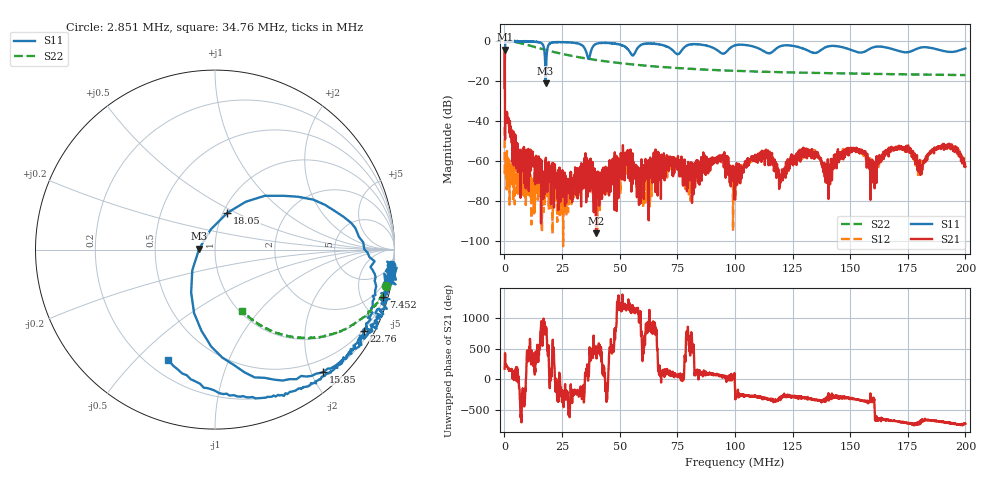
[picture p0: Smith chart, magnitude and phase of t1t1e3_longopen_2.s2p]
! 27-Aug-26 2:32:34 PM
! E:\20260827_VNA\T1T1E3_LONGOPEN_2.S2P
! CHANNEL.1
! TR.MEASUREMENT
! CORRECTED.DATA
# GHZ S RI R 50.0
! FREQ.GHZ  S11RE  S11IM  S21RE  S21IM  S12RE  S12IM  S22RE  S22IM
!; PortSelection: Port_12
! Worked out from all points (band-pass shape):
!   2000 points, 50 kHz to 200 MHz, reference 50 ohm
!   highest |S21| = -4.24 dB at 150 kHz (marker M1); lowest = -96.0 dB at 39.76 MHz (marker M2)
!   |S21| within 3 dB of the highest: 134.3 kHz to 156.7 kHz (22.36 kHz wide, 15.4 % of centre)
!   lowest |S11| = -21.1 dB at 17.85 MHz (marker M3), VSWR 1.19, Z = 41.9 + j0.428 ohm
!   |S11| at or under -10 dB: 134.5 kHz to 163.6 kHz (29.12 kHz wide, 19.5 % of centre); 17.61 MHz to 18.15 MHz (545.9 kHz wide, 3.05 % of centre)
!   |S22| runs from -17.0 to 0.1 dB; largest |S21 - S12| = 0.61
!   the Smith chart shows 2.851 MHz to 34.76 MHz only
!   S11 on the Smith chart (normalised r, x): 2.851 MHz: 4, -22; 7.452 MHz: 0.70, -7.23; 15.85 MHz: 0.27, -2.18; 18.05 MHz: 1.05, +0.45; 22.76 MHz: 0.47, -3.88; 34.76 MHz: 0.28, -0.63
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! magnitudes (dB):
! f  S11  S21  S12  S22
! 50 kHz  -6.1  -23.4  -42.9  -0.2
! 150 kHz  -10.7  -4.2  -67.2  0.1
! 2.851 MHz  -0.1  -46.3  -62.9  -0.2
! 7.452 MHz  -0.2  -55.5  -66.9  -1.2
! 15.85 MHz  -0.8  -91.1  -74.0  -3.8
! 17.85 MHz  -21.1  -65.5  -71.9  -4.4
! 18.05 MHz  -13.3  -71.6  -77.2  -4.4
! 22.76 MHz  -0.5  -66.3  -73.2  -5.8
! 33.46 MHz  -1.9  -64.5  -71.6  -8.2
! 34.76 MHz  -3.5  -58.3  -69.6  -8.5
! 39.76 MHz  -1.3  -96.0  -80.9  -9.4
! 52.36 MHz  -2.8  -56.6  -62.1  -11.2
! 59.56 MHz  -1.6  -63.6  -70.3  -12.1
! 66.77 MHz  -1.5  -62.6  -60.5  -12.8
! 80.57 MHz  -1.7  -64.8  -70.2  -13.8
! 92.67 MHz  -4.8  -60.2  -58.7  -14.6
! 100.1 MHz  -2.0  -79.3  -71.5  -14.8
! 110.3 MHz  -3.7  -58.2  -57.3  -15.2
! 133.4 MHz  -5.5  -56.1  -55.4  -15.8
! 140.2 MHz  -2.7  -71.1  -67.6  -16.0
! 166.7 MHz  -3.4  -57.6  -54.7  -16.5
! 200 MHz  -3.6  -62.8  -62.2  -17.0
